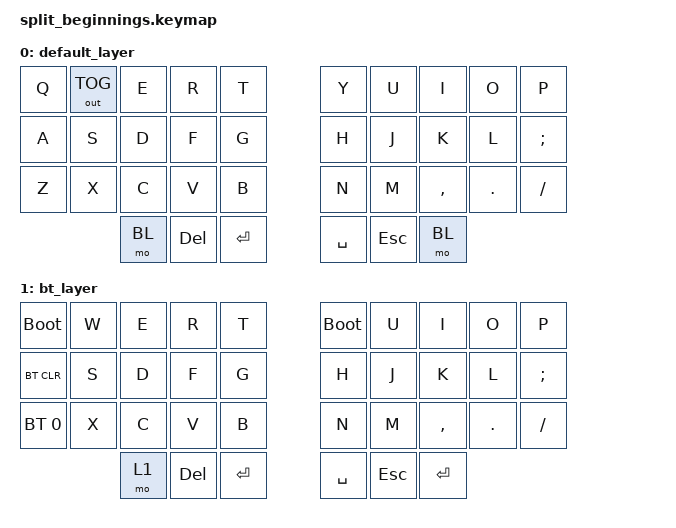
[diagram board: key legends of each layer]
#include <behaviors.dtsi>
#include <dt-bindings/zmk/keys.h>
#include <dt-bindings/zmk/bt.h>
#include <dt-bindings/zmk/outputs.h>

#define DEFAULT 0
#define BL 1

/ {
    keymap {
        compatible = "zmk,keymap";

        default_layer {

            bindings = <
                &kp Q    &out OUT_TOG    &kp E     &kp R     &kp T      &kp Y     &kp U     &kp I     &kp O     &kp P   
                &kp A    &kp S    &kp D     &kp F     &kp G      &kp H     &kp J     &kp K     &kp L     &kp SEMI 
                &kp Z    &kp X    &kp C     &kp V     &kp B      &kp N     &kp M     &kp COMMA &kp DOT   &kp FSLH 
                                &mo BL    &kp DEL   &kp RET    &kp SPACE &kp ESC   &mo BL
            >;
        };

        bt_layer {

            bindings = <
                &bootloader    &kp W    &kp E     &kp R     &kp T      &bootloader     &kp U     &kp I     &kp O     &kp P   
                &bt BT_CLR    &kp S    &kp D     &kp F     &kp G      &kp H     &kp J     &kp K     &kp L     &kp SEMI 
                &bt BT_SEL 0    &kp X    &kp C     &kp V     &kp B      &kp N     &kp M     &kp COMMA &kp DOT   &kp FSLH 
                                &mo 1     &kp DEL   &kp RET    &kp SPACE &kp ESC   &kp RET
            >;  
        };
    };
};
